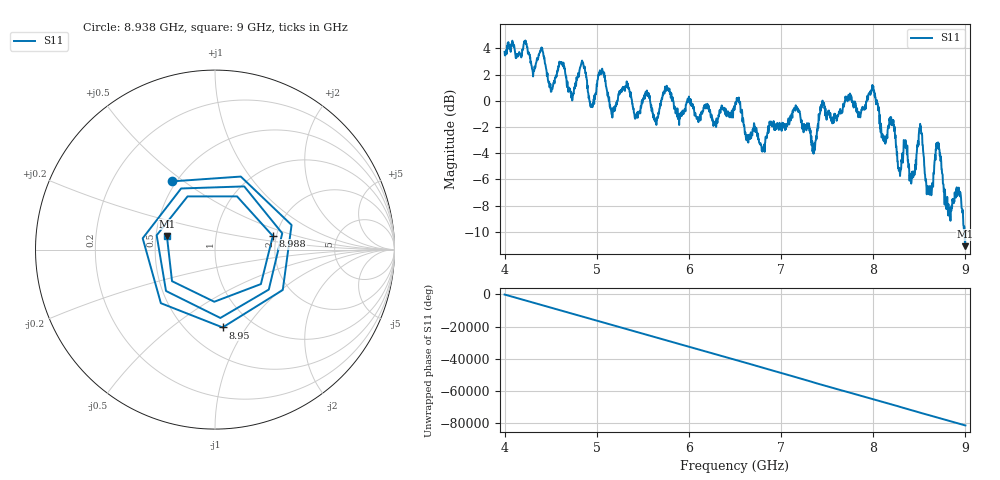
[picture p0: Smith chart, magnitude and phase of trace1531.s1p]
! Created with skrf 1.8.0 (http://scikit-rf.org).
# Hz S RI R 50.0
!freq ReS11 ImS11
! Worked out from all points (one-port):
!   1601 points, 4 GHz to 9 GHz, reference 50 ohm
!   lowest |S11| = -11.1 dB at 9 GHz (marker M1), VSWR 1.77, Z = 28.6 + j4.71 ohm
!   |S11| at or under -10 dB: 8.991353 GHz to end of sweep
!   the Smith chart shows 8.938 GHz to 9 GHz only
!   S11 on the Smith chart (normalised r, x): 8.938 GHz: 0.47, +0.45; 8.95 GHz: 0.73, -0.79; 8.988 GHz: 1.91, +0.33; 9 GHz: 0.57, +0.09
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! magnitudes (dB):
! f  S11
! 4 GHz  3.7
! 4.503 GHz  0.7
! 4.625 GHz  2.7
! 4.728 GHz  0.4
! 4.85 GHz  2.9
! 4.947 GHz  -0.4
! 5.047 GHz  2.0
! 5.162 GHz  -1.0
! 5.25 GHz  0.6
! 5.875 GHz  -0.6
! 6.5 GHz  -0.4
! 6.797 GHz  -3.9
! 7.125 GHz  -0.7
! 7.356 GHz  -4.0
! 7.45 GHz  0.0
! 7.75 GHz  0.3
! 7.997 GHz  0.8
! 8.112 GHz  -3.0
! 8.375 GHz  -4.6
! 8.434 GHz  -5.8
! 8.509 GHz  -1.8
! 8.606 GHz  -6.9
! 8.703 GHz  -3.2
! 8.816 GHz  -7.9
! 8.938 GHz  -7.0
! 8.95 GHz  -7.2
! 8.988 GHz  -9.6
! 9 GHz  -11.1
